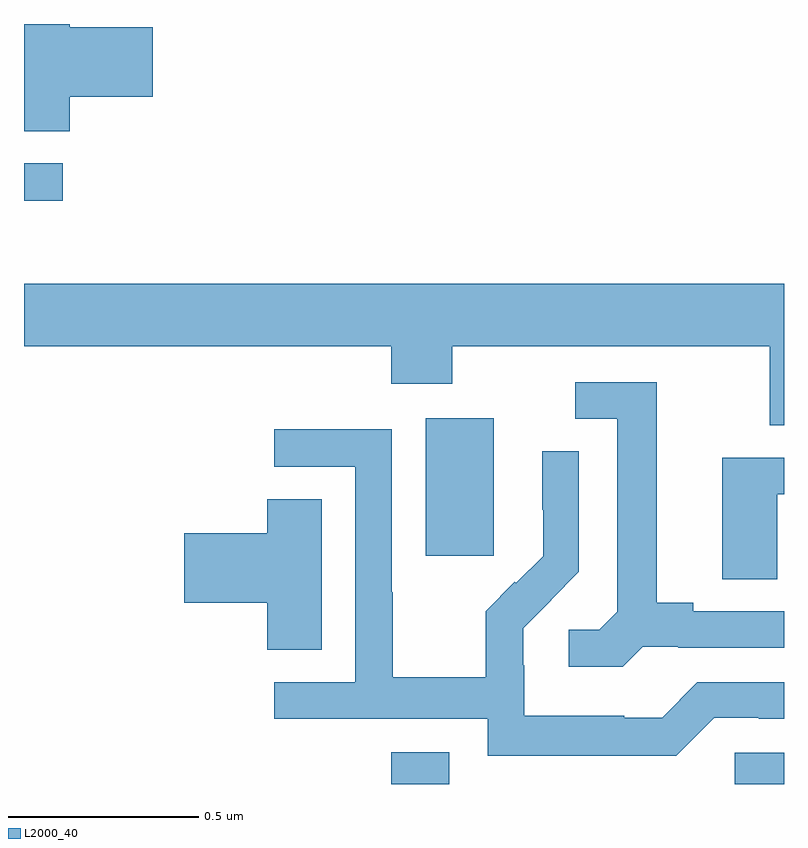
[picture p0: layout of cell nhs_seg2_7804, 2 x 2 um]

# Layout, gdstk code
import gdstk
lib = gdstk.Library(unit=1e-6, precision=1e-09)
def R(c, l, rs):  # rectangles x0, y0, x1, y1
    for r in rs: c.add(gdstk.rectangle(r[:2], r[2:], *l))
def P(c, l, *ps):  # polygons
    for p in ps: c.add(gdstk.Polygon(p, *l))
L2000_40 = (2000, 40)

nhs_seg2_7804 = lib.new_cell('nhs_seg2_7804')
R(nhs_seg2_7804, L2000_40, [(208.967,663.8,209.119,663.883), (209.871,663.8,210,663.882), (209.057,664.401,209.236,664.762), (208,665.335,208.102,665.433)])
P(nhs_seg2_7804, L2000_40, [(208.121,665.609),(208.339,665.609),(208.339,665.792),(208.121,665.792),(208.121,665.8),(208,665.8),(208,665.518),(208.121,665.518)],
  [(210,665.116),(208,665.116),(208,664.952),(208.967,664.952),(208.967,664.853),(209.127,664.853),(209.127,664.952),(209.963,664.952),(209.963,664.744),(210,664.744)],
  [(209.628,664.161),(209.722,664.161),(209.722,664.158),(210,664.158),(210,664.254),(209.761,664.254),(209.761,664.277),(209.665,664.277),(209.665,664.857),(209.451,664.857),(209.451,664.761),(209.561,664.761),(209.561,664.253),(209.514,664.206),(209.433,664.206),(209.433,664.109),(209.576,664.109)],
  [(209.817,663.975),(209.933,663.975),(209.933,663.972),(210,663.972),(210,664.068),(209.772,664.068),(209.679,663.975),(209.579,663.975),(209.579,663.979),(209.316,663.979),(209.316,664.113),(209.314,664.113),(209.314,664.21),(209.388,664.284),(209.387,664.285),(209.46,664.358),(209.46,664.676),(209.364,664.676),(209.364,664.522),(209.366,664.522),(209.366,664.4),(209.295,664.329),(209.292,664.332),(209.215,664.255),(209.215,664.081),(208.971,664.081),(208.971,664.304),(208.968,664.304),(208.968,664.734),(208.659,664.734),(208.659,664.635),(208.872,664.635),(208.872,664.068),(208.659,664.068),(208.659,663.972),(209.22,663.972),(209.22,663.875),(209.717,663.875)],
  [(209.982,664.563),(210,664.563),(210,664.659),(209.837,664.659),(209.837,664.339),(209.982,664.339)],
  [(208.783,664.55),(208.64,664.55),(208.64,664.46),(208.422,664.46),(208.422,664.277),(208.64,664.277),(208.64,664.153),(208.783,664.153)])

lib.write_gds('nhs_seg2_7804.gds')
